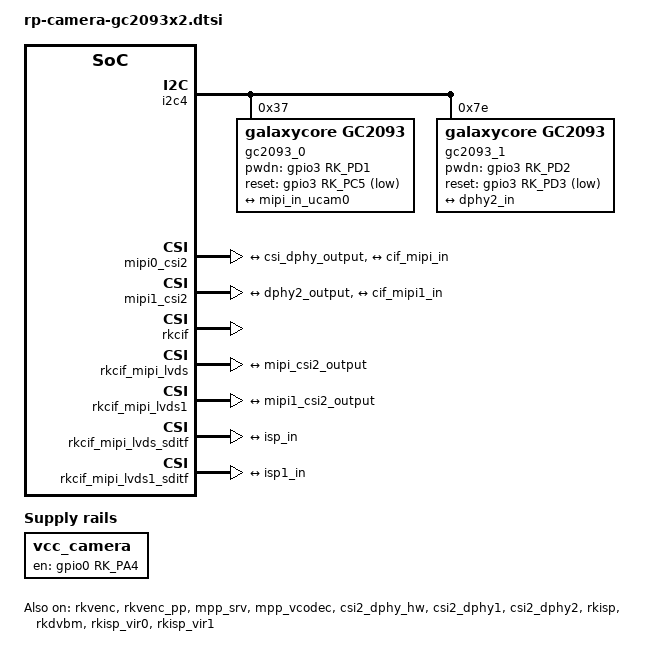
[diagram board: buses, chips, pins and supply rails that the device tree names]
/*
 * Added by rpdzkj
 */
/ {
        cam_ircut0: cam_ircut {
                status = "disabled";
                compatible = "rockchip,ircut";
                ircut-open-gpios = <&gpio1 RK_PD3 GPIO_ACTIVE_HIGH>;
                ircut-close-gpios  = <&gpio1 RK_PD1 GPIO_ACTIVE_HIGH>;
                rockchip,camera-module-index = <0>;
                rockchip,camera-module-facing = "back";
        };

	vcc_camera: vcc-camera-regulator {
                compatible = "regulator-fixed";
                gpio = <&gpio0 RK_PA4 GPIO_ACTIVE_HIGH>;
                pinctrl-names = "default";
                pinctrl-0 = <&camera_pwr>;
                regulator-name = "vcc_camera";
                enable-active-high;
                regulator-always-on;
                regulator-boot-on;
        };

};

&i2c4 {
	   status = "okay";
	//IR
        gc2093_0: gc2093_0@37 {
                compatible = "galaxycore,gc2093";
                status = "okay";
                reg = <0x37>;
                clocks = <&cru MCLK_REF_MIPI0>;
                clock-names = "xvclk";
               // power-domains = <&power RV1106_PD_VI>;
                pinctrl-names = "default";
                pinctrl-0 = <&mipi_refclk_out0>;
                pwdn-gpios = <&gpio3 RK_PD1 GPIO_ACTIVE_HIGH>;
                reset-gpios = <&gpio3 RK_PC5 GPIO_ACTIVE_LOW>;
                rockchip,camera-module-index = <0>;
                rockchip,camera-module-facing = "back";
                rockchip,camera-module-name = "YT-RV1109-2-V1";
                rockchip,camera-module-lens-name = "40IR-2MP-F20";
                port {
                        ucam_out0: endpoint {
                                remote-endpoint = <&mipi_in_ucam0>;
                                data-lanes = <1 2>;
                        };
                };
        };
		
		//RGB
        gc2093_1: gc2093_1@7e {
                compatible = "galaxycore,gc2093";
                status = "okay";
                reg = <0x7e>;
                clocks = <&cru MCLK_REF_MIPI1>;
                clock-names = "xvclk";
                //power-domains = <&power RV1106_PD_VI>;
                pinctrl-names = "default";
                pinctrl-0 = <&mipi_refclk_out1>;
                pwdn-gpios = <&gpio3 RK_PD2 GPIO_ACTIVE_HIGH>;
                reset-gpios = <&gpio3 RK_PD3 GPIO_ACTIVE_LOW>;
                rockchip,camera-module-index = <1>;
                rockchip,camera-module-facing = "back";
                rockchip,camera-module-name = "YT-RV1109-2-V1";
                rockchip,camera-module-lens-name = "40IR-2MP-F20";
                port {
                        ucam_out1: endpoint {
                                remote-endpoint = <&dphy2_in>;
                                data-lanes = <1 2>;
                        };
                };
        };
};

&rkvenc {
 status = "okay";
};

&rkvenc_pp {
 status = "okay";
};
&mpp_srv {
 status = "okay";
};

&mpp_vcodec {
 status = "okay";
};


&csi2_dphy_hw {
	status = "okay";
};

&csi2_dphy0 {
	status = "disabled";
};

&csi2_dphy1 {
	status = "okay";

	ports {
		#address-cells = <1>;
		#size-cells = <0>;

		port@0 {
			reg = <0>;
			#address-cells = <1>;
			#size-cells = <0>;

			mipi_in_ucam0: endpoint@0 {
				reg = <0>;
				remote-endpoint = <&ucam_out0>;
				data-lanes = <1 2>;
			};
		};

		port@1 {
			reg = <1>;
			#address-cells = <1>;
			#size-cells = <0>;

			csi_dphy_output: endpoint@0 {
				reg = <0>;
				remote-endpoint = <&mipi_csi2_input>;
			};
		};
	};
};

&csi2_dphy2 {
        status = "okay";
        ports {
                #address-cells = <1>;
                #size-cells = <0>;
                port@0 {
                        reg = <0>;
                        #address-cells = <1>;
                        #size-cells = <0>;
                        dphy2_in: endpoint@1 {
                                reg = <1>;
                                remote-endpoint = <&ucam_out1>;
                                data-lanes = <1 2>;
                        };
                };
                port@1 {
                        reg = <1>;
                        #address-cells = <1>;
                        #size-cells = <0>;
                        dphy2_output: endpoint@0 {
                                remote-endpoint = <&mipi1_csi2_input>;
                                
                        };
                };
        };
};


&mipi0_csi2 {
	status = "okay";

	ports {
		#address-cells = <1>;
		#size-cells = <0>;

		port@0 {
			reg = <0>;
			#address-cells = <1>;
			#size-cells = <0>;

			mipi_csi2_input: endpoint@1 {
				reg = <1>;
				remote-endpoint = <&csi_dphy_output>;
				data-lanes = <1 2>;
			};
		};

		port@1 {
			reg = <1>;
			#address-cells = <1>;
			#size-cells = <0>;

			mipi_csi2_output: endpoint@0 {
				reg = <0>;
				remote-endpoint = <&cif_mipi_in>;
				data-lanes = <1 2>;
			};
		};
	};
};

&mipi1_csi2 {
	status = "okay";

	ports {
		#address-cells = <1>;
		#size-cells = <0>;

		port@0 {
			reg = <0>;
			#address-cells = <1>;
			#size-cells = <0>;

			mipi1_csi2_input: endpoint@1 {
				reg = <1>;
				remote-endpoint = <&dphy2_output>;
				data-lanes = <1 2>;
			};
		};

		port@1 {
			reg = <1>;
			#address-cells = <1>;
			#size-cells = <0>;

			mipi1_csi2_output: endpoint@0 {
				reg = <0>;
				remote-endpoint = <&cif_mipi1_in>;
				data-lanes = <1 2>;
			};
		};
	};
};

&rkcif {
	status = "okay";
};

&rkcif_mipi_lvds {
	status = "okay";

	//pinctrl-names = "default";
	//pinctrl-0 = <&mipi_pins>;
	port {
		/* MIPI CSI-2 endpoint */
		cif_mipi_in: endpoint {
			remote-endpoint = <&mipi_csi2_output>;
			data-lanes = <1 2>;
		};
	};
};

&rkcif_mipi_lvds1 {
	status = "okay";

	pinctrl-names = "default";
	pinctrl-0 = <&mipi_pins>;
	port {
		/* MIPI CSI-2 endpoint */
		cif_mipi1_in: endpoint {
			remote-endpoint = <&mipi1_csi2_output>;
			data-lanes = <1 2>;
		};
	};
};

&rkcif_mipi_lvds_sditf {
	status = "okay";

	port {
		/* MIPI CSI-2 endpoint */
		mipi_lvds_sditf: endpoint {
			remote-endpoint = <&isp_in>;
			data-lanes = <1 2>;
		};
	};
};

&rkcif_mipi_lvds1_sditf {
	status = "okay";

	port {
		/* MIPI CSI-2 endpoint */
		mipi_lvds1_sditf: endpoint {
			remote-endpoint = <&isp1_in>;
			data-lanes = <1 2>;
		};
	};
};

&rkisp {
	status = "okay";
//	max-input = <1920 1080 30>;
};

&rkdvbm {
	status = "okay";
};

&rkisp_vir0 {
	status = "okay";

	port@0 {
		isp_in: endpoint {
			remote-endpoint = <&mipi_lvds_sditf>;
		};
	};
};

&rkisp_vir1 {
    status = "okay";
	dvbm = <&rkdvbm>;	
		port@0 {
		isp1_in: endpoint {
			remote-endpoint = <&mipi_lvds1_sditf>;
		};
	};

};


&pinctrl {
        cam {
                camera_pwr: camera-pwr {
                        rockchip,pins =
                                /* camera power en */
                                <0 RK_PA4 RK_FUNC_GPIO &pcfg_pull_none>;
                };
        };
};
